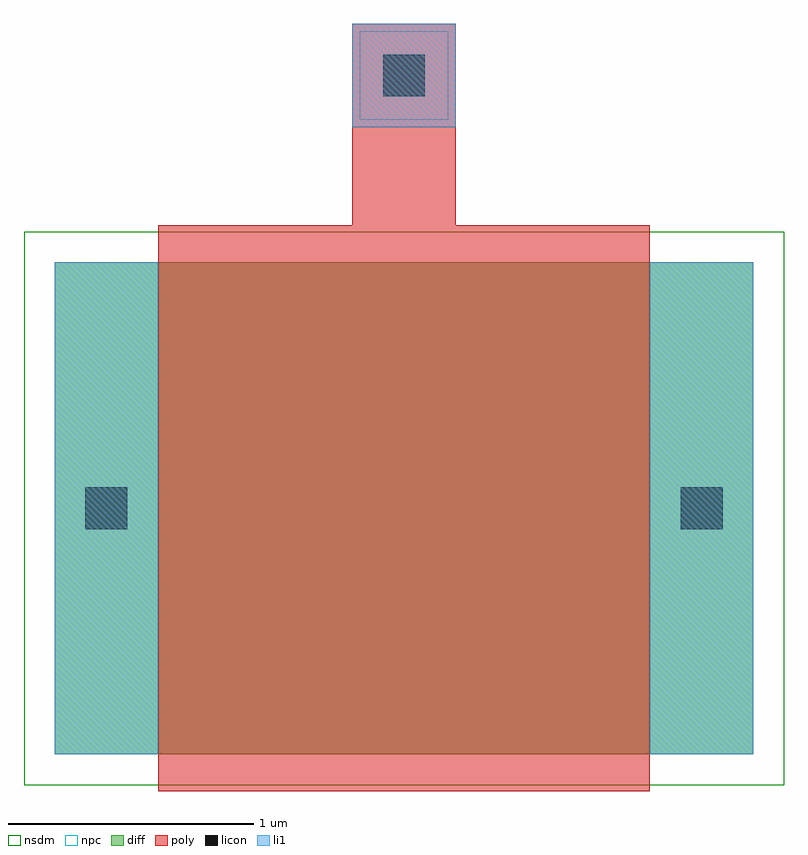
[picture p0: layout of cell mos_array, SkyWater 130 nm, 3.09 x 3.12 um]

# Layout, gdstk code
import gdstk
lib = gdstk.Library(unit=1e-6, precision=1e-09)
def R(c, l, rs):  # rectangles x0, y0, x1, y1
    for r in rs: c.add(gdstk.rectangle(r[:2], r[2:], *l))
diff = (65, 20)
poly = (66, 20)
licon = (66, 44)
li1 = (67, 20)
nsdm = (93, 44)
npc = (95, 20)

mos_array = lib.new_cell('mos_array')
R(mos_array, diff, [(0,0,2.84,2)])
R(mos_array, poly, [(0.42,-0.15,2.42,2), (0.42,2,2.42,2.15), (0.42,2,2.42,2.15), (1.21,2.15,1.63,2.97)])
R(mos_array, licon, [(0.125,0.915,0.295,1.085), (2.545,0.915,2.715,1.085), (1.335,2.675,1.505,2.845)])
R(mos_array, li1, [(0,0,0.42,2), (2.42,0,2.84,2), (1.21,2.55,1.63,2.97)])
R(mos_array, nsdm, [(-0.125,-0.125,2.965,2.125)])
R(mos_array, npc, [(1.24,2.58,1.6,2.94)])

lib.write_gds('mos_array.gds')
